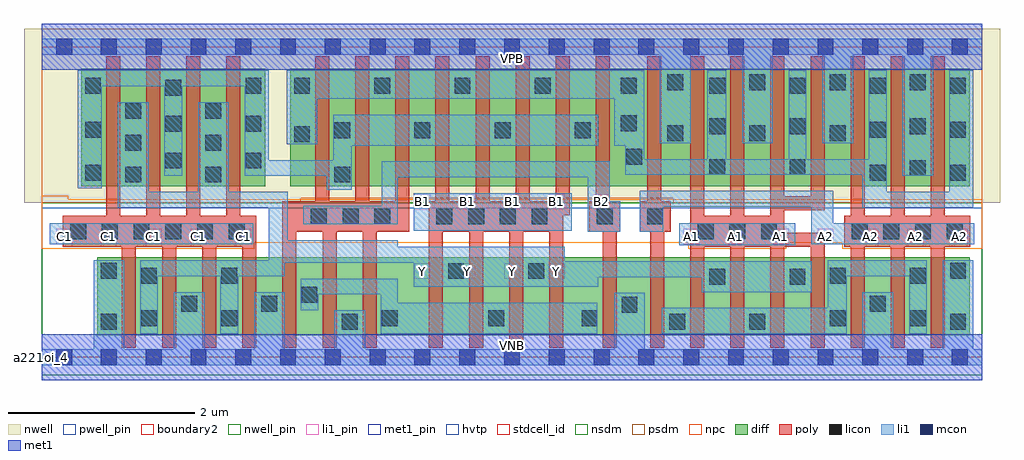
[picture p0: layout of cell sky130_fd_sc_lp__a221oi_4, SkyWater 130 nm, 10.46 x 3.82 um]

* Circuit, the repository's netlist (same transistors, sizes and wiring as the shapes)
* Copyright 2020 The SkyWater PDK Authors
*
* Licensed under the Apache License, Version 2.0 (the "License");
* you may not use this file except in compliance with the License.
* You may obtain a copy of the License at
*
*     https://www.apache.org/licenses/LICENSE-2.0
*
* Unless required by applicable law or agreed to in writing, software
* distributed under the License is distributed on an "AS IS" BASIS,
* WITHOUT WARRANTIES OR CONDITIONS OF ANY KIND, either express or implied.
* See the License for the specific language governing permissions and
* limitations under the License.
*
* SPDX-License-Identifier: Apache-2.0

.SUBCKT sky130_fd_sc_lp__a221oi_4 A1 A2 B1 B2 C1 VGND VNB VPB VPWR Y
*.PININFO A1:I A2:I B1:I B2:I C1:I VGND:I VNB:I VPB:I VPWR:I Y:O
MMPA0 pndA A1 VPWR VPB sky130_fd_pr__pfet_01v8_hvt m=4 w=1.26U l=0.15U mult=1 sa=0.265
+ sb=0.265 sd=0.28 area=0.063 perim=1.14
MMPA1 pndA A2 VPWR VPB sky130_fd_pr__pfet_01v8_hvt m=4 w=1.26U l=0.15U mult=1 sa=0.265
+ sb=0.265 sd=0.28 area=0.063 perim=1.14
MMPB0 pndB B1 pndA VPB sky130_fd_pr__pfet_01v8_hvt m=4 w=1.26U l=0.15U mult=1 sa=0.265
+ sb=0.265 sd=0.28 area=0.063 perim=1.14
MMPB1 pndB B2 pndA VPB sky130_fd_pr__pfet_01v8_hvt m=4 w=1.26U l=0.15U mult=1 sa=0.265
+ sb=0.265 sd=0.28 area=0.063 perim=1.14
MMPC0 Y C1 pndB VPB sky130_fd_pr__pfet_01v8_hvt m=4 w=1.26U l=0.15U mult=1 sa=0.265
+ sb=0.265 sd=0.28 area=0.063 perim=1.14
MMNA0 Y A1 sndA1 VNB sky130_fd_pr__nfet_01v8 m=4 w=0.84U l=0.15U mult=1 sa=0.265
+ sb=0.265 sd=0.28 area=0.063 perim=1.14
MMNA1 sndA1 A2 VGND VNB sky130_fd_pr__nfet_01v8 m=4 w=0.84U l=0.15U mult=1 sa=0.265
+ sb=0.265 sd=0.28 area=0.063 perim=1.14
MMNB0 Y B1 sndB1 VNB sky130_fd_pr__nfet_01v8 m=4 w=0.84U l=0.15U mult=1 sa=0.265
+ sb=0.265 sd=0.28 area=0.063 perim=1.14
MMNB1 sndB1 B2 VGND VNB sky130_fd_pr__nfet_01v8 m=4 w=0.84U l=0.15U mult=1 sa=0.265
+ sb=0.265 sd=0.28 area=0.063 perim=1.14
MMNC0 Y C1 VGND VNB sky130_fd_pr__nfet_01v8 m=4 w=0.84U l=0.15U mult=1 sa=0.265
+ sb=0.265 sd=0.28 area=0.063 perim=1.14
.ENDS sky130_fd_sc_lp__a221oi_4

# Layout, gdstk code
import gdstk
lib = gdstk.Library(unit=1e-6, precision=1e-09)
def R(c, l, rs):  # rectangles x0, y0, x1, y1
    for r in rs: c.add(gdstk.rectangle(r[:2], r[2:], *l))
def A(c, l, x, y, w, h, nx, ny, dx, dy):  # array of equal rectangles
    R(c, l, [(x+i*dx, y+j*dy, x+i*dx+w, y+j*dy+h) for i in range(nx) for j in range(ny)])
def P(c, l, *ps):  # polygons
    for p in ps: c.add(gdstk.Polygon(p, *l))
nwell_pin = (64, 16)
nwell = (64, 20)
diff = (65, 20)
poly = (66, 20)
licon = (66, 44)
li1_pin = (67, 16)
li1 = (67, 20)
mcon = (67, 44)
met1_pin = (68, 16)
met1 = (68, 20)
hvtp = (78, 44)
stdcell_id = (81, 4)
nsdm = (93, 44)
psdm = (94, 20)
npc = (95, 20)
pwell_pin = (122, 16)
boundary2 = (236, 0)

sky130_fd_sc_lp__a221oi_ = lib.new_cell('sky130_fd_sc_lp__a221oi_4')
R(sky130_fd_sc_lp__a221oi_, nwell_pin, [(0,3.085,10.08,3.33)])
R(sky130_fd_sc_lp__a221oi_, nwell, [(-0.19,1.655,10.27,3.52)])
R(sky130_fd_sc_lp__a221oi_, diff, [(0.595,0.235,9.945,1.075), (0.425,1.835,2.395,3.095), (2.665,1.835,9.945,3.095)])
P(sky130_fd_sc_lp__a221oi_, poly, [(2.3,1.515),(2.13,1.515),(2.13,3.225),(1.98,3.225),(1.98,1.515),(1.7,1.515),(1.7,3.225),(1.55,3.225),(1.55,1.515),(1.27,1.515),(1.27,3.225),(1.12,3.225),(1.12,1.515),(0.84,1.515),(0.84,3.225),(0.69,3.225),(0.69,1.515),(0.225,1.515),(0.225,1.185),(0.86,1.185),(0.86,0.105),(1.01,0.105),(1.01,1.185),(1.29,1.185),(1.29,0.105),(1.44,0.105),(1.44,1.185),(1.72,1.185),(1.72,0.105),(1.87,0.105),(1.87,1.185),(2.15,1.185),(2.15,0.105),(2.3,0.105)],
  [(3.94,3.225),(3.79,3.225),(3.79,1.675),(3.51,1.675),(3.51,3.225),(3.36,3.225),(3.36,1.675),(3.08,1.675),(3.08,3.225),(2.93,3.225),(2.93,1.675),(2.58,1.675),(2.58,0.105),(2.73,0.105),(2.73,1.345),(3.01,1.345),(3.01,0.105),(3.16,0.105),(3.16,1.345),(3.44,1.345),(3.44,0.105),(3.59,0.105),(3.59,1.345),(3.94,1.345)],
  [(5.66,3.225),(5.51,3.225),(5.51,1.675),(5.23,1.675),(5.23,3.225),(5.08,3.225),(5.08,1.675),(4.8,1.675),(4.8,3.225),(4.65,3.225),(4.65,1.675),(4.37,1.675),(4.37,3.225),(4.22,3.225),(4.22,1.675),(4.15,1.675),(4.15,0.105),(4.3,0.105),(4.3,1.345),(4.58,1.345),(4.58,0.105),(4.73,0.105),(4.73,1.345),(5.01,1.345),(5.01,0.105),(5.16,0.105),(5.16,1.345),(5.44,1.345),(5.44,0.105),(5.59,0.105),(5.59,1.525),(5.66,1.525)],
  [(6.2,1.675),(6.09,1.675),(6.09,3.225),(5.94,3.225),(5.94,1.675),(5.87,1.675),(5.87,1.345),(6.01,1.345),(6.01,0.105),(6.16,0.105),(6.16,1.345),(6.2,1.345)],
  [(6.74,1.675),(6.64,1.675),(6.64,3.225),(6.49,3.225),(6.49,1.675),(6.41,1.675),(6.41,1.345),(6.52,1.345),(6.52,0.105),(6.67,0.105),(6.67,1.345),(6.74,1.345)],
  [(8.39,1.335),(7.96,1.335),(7.96,1.575),(8.39,1.575),(8.39,3.225),(8.24,3.225),(8.24,1.725),(7.96,1.725),(7.96,3.225),(7.81,3.225),(7.81,1.515),(7.53,1.515),(7.53,3.225),(7.38,3.225),(7.38,1.515),(7.1,1.515),(7.1,3.225),(6.95,3.225),(6.95,0.105),(7.1,0.105),(7.1,1.185),(7.38,1.185),(7.38,0.105),(7.53,0.105),(7.53,1.185),(7.81,1.185),(7.81,0.105),(7.96,0.105),(7.96,1.185),(8.24,1.185),(8.24,0.105),(8.39,0.105)],
  [(9.95,1.515),(9.68,1.515),(9.68,3.225),(9.53,3.225),(9.53,1.515),(9.25,1.515),(9.25,3.225),(9.1,3.225),(9.1,1.515),(8.82,1.515),(8.82,3.225),(8.67,3.225),(8.67,1.515),(8.6,1.515),(8.6,1.185),(8.67,1.185),(8.67,0.105),(8.82,0.105),(8.82,1.185),(9.1,1.185),(9.1,0.105),(9.25,0.105),(9.25,1.185),(9.53,1.185),(9.53,0.105),(9.68,0.105),(9.68,1.185),(9.95,1.185)])
A(sky130_fd_sc_lp__a221oi_, licon, 0.305, 1.265, 0.17, 0.17, 6, 1, 0.34, 0)
A(sky130_fd_sc_lp__a221oi_, licon, 7.03, 1.265, 0.17, 0.17, 3, 1, 0.34, 0)
A(sky130_fd_sc_lp__a221oi_, licon, 8.68, 1.265, 0.17, 0.17, 4, 1, 0.34, 0)
A(sky130_fd_sc_lp__a221oi_, licon, 2.885, 1.425, 0.17, 0.17, 3, 1, 0.34, 0)
A(sky130_fd_sc_lp__a221oi_, licon, 4.23, 1.425, 0.17, 0.17, 4, 1, 0.34, 0)
A(sky130_fd_sc_lp__a221oi_, licon, 0.895, 1.875, 0.17, 0.17, 1, 3, 0, 0.34)
A(sky130_fd_sc_lp__a221oi_, licon, 1.755, 1.875, 0.17, 0.17, 1, 3, 0, 0.34)
A(sky130_fd_sc_lp__a221oi_, licon, 3.135, 2.35, 0.17, 0.17, 4, 1, 0.86, 0)
A(sky130_fd_sc_lp__a221oi_, licon, 2.705, 2.825, 0.17, 0.17, 4, 1, 0.86, 0)
A(sky130_fd_sc_lp__a221oi_, licon, 7.155, 2.825, 0.17, 0.17, 4, 1, 0.86, 0)
A(sky130_fd_sc_lp__a221oi_, licon, 7.585, 2.865, 0.17, 0.17, 3, 1, 0.86, 0)
R(sky130_fd_sc_lp__a221oi_, licon, [(0.635,0.295,0.805,0.465), (3.215,0.295,3.385,0.465), (6.725,0.295,6.895,0.465), (7.585,0.295,7.755,0.465), (9.735,0.295,9.905,0.465), (1.065,0.335,1.235,0.505), (1.925,0.335,2.095,0.505), (3.645,0.335,3.815,0.505), (4.785,0.335,4.955,0.505), (5.785,0.335,5.955,0.505), (8.445,0.335,8.615,0.505), (9.305,0.335,9.475,0.505), (6.215,0.48,6.385,0.65), (1.495,0.49,1.665,0.66), (2.355,0.49,2.525,0.66), (8.875,0.49,9.045,0.66), (2.785,0.585,2.955,0.755), (7.155,0.78,7.325,0.95), (8.015,0.78,8.185,0.95), (1.065,0.79,1.235,0.96), (1.925,0.79,2.095,0.96), (8.445,0.79,8.615,0.96), (9.305,0.79,9.475,0.96), (4.355,0.84,4.525,1.01), (5.215,0.84,5.385,1.01), (0.635,0.845,0.805,1.015), (9.735,0.845,9.905,1.015), (5.95,1.425,6.12,1.595), (6.49,1.425,6.66,1.595), (3.135,1.875,3.305,2.045), (0.465,1.895,0.635,2.065), (8.875,1.895,9.045,2.065), (9.735,1.895,9.905,2.065), (9.305,1.945,9.475,2.115), (7.155,1.955,7.325,2.125), (8.015,1.955,8.185,2.125), (1.325,2.025,1.495,2.195), (2.185,2.025,2.355,2.195), (6.265,2.065,6.435,2.235), (2.705,2.305,2.875,2.475), (6.705,2.315,6.875,2.485), (7.585,2.315,7.755,2.485), (8.445,2.315,8.615,2.485), (0.465,2.355,0.635,2.525), (8.875,2.355,9.045,2.525), (9.735,2.355,9.905,2.525), (7.155,2.39,7.325,2.56), (8.015,2.39,8.185,2.56), (9.305,2.39,9.475,2.56), (1.325,2.42,1.495,2.59), (2.185,2.42,2.355,2.59), (6.205,2.425,6.375,2.595), (1.325,2.805,1.495,2.975), (0.465,2.825,0.635,2.995), (2.185,2.825,2.355,2.995), (6.205,2.825,6.375,2.995), (6.705,2.865,6.875,3.035)])
A(sky130_fd_sc_lp__a221oi_, li1_pin, 3.995, 0.84, 0.17, 0.17, 4, 1, 0.48, 0)
A(sky130_fd_sc_lp__a221oi_, li1_pin, 0.155, 1.21, 0.17, 0.17, 5, 1, 0.48, 0)
A(sky130_fd_sc_lp__a221oi_, li1_pin, 6.875, 1.21, 0.17, 0.17, 7, 1, 0.48, 0)
A(sky130_fd_sc_lp__a221oi_, li1_pin, 3.995, 1.58, 0.17, 0.17, 5, 1, 0.48, 0)
R(sky130_fd_sc_lp__a221oi_, li1, [(6.83,1.2,8.075,1.435), (0.085,1.21,2.265,1.435), (3.985,1.355,5.68,1.76)])
P(sky130_fd_sc_lp__a221oi_, li1, [(5.955,0.585),(3.815,0.585),(3.815,0.845),(2.775,0.845),(2.775,0.505),(2.965,0.505),(2.965,0.675),(3.635,0.675),(3.635,0.255),(5.955,0.255)],
  [(5.965,2.6),(3.125,2.6),(3.125,2.115),(2.435,2.115),(2.435,3.075),(0.385,3.075),(0.385,1.815),(0.645,1.815),(0.645,2.905),(1.315,2.905),(1.315,1.945),(1.505,1.945),(1.505,2.905),(2.175,2.905),(2.175,1.945),(3.055,1.945),(3.055,1.795),(3.325,1.795),(3.325,2.27),(5.965,2.27)],
  [(6.2,1.675),(6.085,1.675),(6.085,2.1),(3.645,2.1),(3.645,1.625),(2.805,1.625),(2.805,1.425),(3.815,1.425),(3.815,1.93),(5.85,1.93),(5.85,1.345),(6.2,1.345)],
  [(8.255,1.03),(5.605,1.03),(5.605,1.185),(3.815,1.185),(3.815,1.255),(2.635,1.255),(2.635,1.775),(2.005,1.775),(2.005,2.735),(1.675,2.735),(1.675,1.775),(1.145,1.775),(1.145,2.735),(0.815,2.735),(0.815,1.605),(2.435,1.605),(2.435,1.04),(1.055,1.04),(1.055,0.255),(1.245,0.255),(1.245,0.87),(1.915,0.87),(1.915,0.255),(2.105,0.255),(2.105,0.87),(2.605,0.87),(2.605,1.015),(3.985,1.015),(3.985,0.755),(5.965,0.755),(5.965,0.86),(7.075,0.86),(7.075,0.7),(8.255,0.7)],
  [(9.485,1.04),(8.425,1.04),(8.425,0.53),(6.645,0.53),(6.645,0.255),(8.625,0.255),(8.625,0.87),(9.295,0.87),(9.295,0.255),(9.485,0.255)],
  [(9.985,3.075),(9.725,3.075),(9.725,1.775),(9.055,1.775),(9.055,3.075),(8.865,3.075),(8.865,2.125),(8.195,2.125),(8.195,3.075),(8.005,3.075),(8.005,2.125),(7.335,2.125),(7.335,3.075),(7.135,3.075),(7.135,2.125),(6.455,2.125),(6.455,3.075),(2.625,3.075),(2.625,2.285),(2.955,2.285),(2.955,2.77),(6.135,2.77),(6.135,2.27),(6.255,2.27),(6.255,1.955),(8.795,1.955),(8.795,1.605),(9.985,1.605)],
  [(9.995,1.435),(8.485,1.435),(8.485,1.785),(6.41,1.785),(6.41,1.345),(6.66,1.345),(6.66,1.615),(8.245,1.615),(8.245,1.21),(9.995,1.21)],
  [(10.08,3.415),(0,3.415),(0,3.245),(6.625,3.245),(6.625,2.295),(6.955,2.295),(6.955,3.245),(7.505,3.245),(7.505,2.295),(7.835,2.295),(7.835,3.245),(8.365,3.245),(8.365,2.295),(8.695,2.295),(8.695,3.245),(9.225,3.245),(9.225,1.945),(9.555,1.945),(9.555,3.245),(10.08,3.245)],
  [(10.08,0.085),(9.985,0.085),(9.985,1.04),(9.655,1.04),(9.655,0.085),(9.125,0.085),(9.125,0.7),(8.795,0.7),(8.795,0.085),(6.465,0.085),(6.465,0.69),(6.135,0.69),(6.135,0.085),(3.465,0.085),(3.465,0.505),(3.135,0.505),(3.135,0.085),(2.605,0.085),(2.605,0.7),(2.275,0.7),(2.275,0.085),(1.745,0.085),(1.745,0.7),(1.415,0.7),(1.415,0.085),(0.885,0.085),(0.885,1.04),(0.555,1.04),(0.555,0.085),(0,0.085),(0,-0.085),(10.08,-0.085)])
A(sky130_fd_sc_lp__a221oi_, mcon, 0.155, -0.085, 0.17, 0.17, 21, 2, 0.48, 3.33)
R(sky130_fd_sc_lp__a221oi_, met1_pin, [(0,0,10.08,0.245), (0,3.085,10.08,3.33)])
R(sky130_fd_sc_lp__a221oi_, met1, [(0,-0.245,10.08,0.245), (0,3.085,10.08,3.575)])
R(sky130_fd_sc_lp__a221oi_, hvtp, [(0,1.6,10.08,3.33)])
R(sky130_fd_sc_lp__a221oi_, stdcell_id, [(0,0,10.08,3.33)])
R(sky130_fd_sc_lp__a221oi_, nsdm, [(0,-0.19,10.08,1.655)])
P(sky130_fd_sc_lp__a221oi_, psdm, [(10.08,3.52),(0,3.52),(0,1.655),(2.775,1.655),(2.775,1.705),(6.77,1.705),(6.77,1.655),(10.08,1.655)])
P(sky130_fd_sc_lp__a221oi_, npc, [(10.08,1.695),(0.285,1.695),(0.285,1.73),(0,1.73),(0,1.165),(2.275,1.165),(2.275,1.23),(6.93,1.23),(6.93,1.165),(7.98,1.165),(7.98,1.23),(8.58,1.23),(8.58,1.165),(10.08,1.165)])
R(sky130_fd_sc_lp__a221oi_, pwell_pin, [(0,0,10.08,0.245)])
R(sky130_fd_sc_lp__a221oi_, boundary2, [(0,0,10.08,3.33)])
sky130_fd_sc_lp__a221oi_.add(gdstk.Label('VNB', (5.04,0.123), layer=64, texttype=59))
sky130_fd_sc_lp__a221oi_.add(gdstk.Label('VPB', (5.04,3.208), layer=64, texttype=5))
sky130_fd_sc_lp__a221oi_.add(gdstk.Label('a221oi_4', (0,0), layer=83, texttype=44))
sky130_fd_sc_lp__a221oi_.add(gdstk.Label('VPWR', (5.04,3.208), layer=68, texttype=5))
sky130_fd_sc_lp__a221oi_.add(gdstk.Label('VGND', (5.04,0.123), layer=68, texttype=5))
sky130_fd_sc_lp__a221oi_.add(gdstk.Label('A1', (6.96,1.295), layer=67, texttype=5))
sky130_fd_sc_lp__a221oi_.add(gdstk.Label('A1', (7.44,1.295), layer=67, texttype=5))
sky130_fd_sc_lp__a221oi_.add(gdstk.Label('A1', (7.92,1.295), layer=67, texttype=5))
sky130_fd_sc_lp__a221oi_.add(gdstk.Label('Y', (4.08,0.925), layer=67, texttype=5))
sky130_fd_sc_lp__a221oi_.add(gdstk.Label('Y', (4.56,0.925), layer=67, texttype=5))
sky130_fd_sc_lp__a221oi_.add(gdstk.Label('Y', (5.04,0.925), layer=67, texttype=5))
sky130_fd_sc_lp__a221oi_.add(gdstk.Label('Y', (5.52,0.925), layer=67, texttype=5))
sky130_fd_sc_lp__a221oi_.add(gdstk.Label('A2', (8.4,1.295), layer=67, texttype=5))
sky130_fd_sc_lp__a221oi_.add(gdstk.Label('A2', (8.88,1.295), layer=67, texttype=5))
sky130_fd_sc_lp__a221oi_.add(gdstk.Label('A2', (9.36,1.295), layer=67, texttype=5))
sky130_fd_sc_lp__a221oi_.add(gdstk.Label('A2', (9.84,1.295), layer=67, texttype=5))
sky130_fd_sc_lp__a221oi_.add(gdstk.Label('B1', (4.08,1.665), layer=67, texttype=5))
sky130_fd_sc_lp__a221oi_.add(gdstk.Label('B1', (4.56,1.665), layer=67, texttype=5))
sky130_fd_sc_lp__a221oi_.add(gdstk.Label('B1', (5.04,1.665), layer=67, texttype=5))
sky130_fd_sc_lp__a221oi_.add(gdstk.Label('B1', (5.52,1.665), layer=67, texttype=5))
sky130_fd_sc_lp__a221oi_.add(gdstk.Label('C1', (0.24,1.295), layer=67, texttype=5))
sky130_fd_sc_lp__a221oi_.add(gdstk.Label('C1', (0.72,1.295), layer=67, texttype=5))
sky130_fd_sc_lp__a221oi_.add(gdstk.Label('C1', (1.2,1.295), layer=67, texttype=5))
sky130_fd_sc_lp__a221oi_.add(gdstk.Label('C1', (1.68,1.295), layer=67, texttype=5))
sky130_fd_sc_lp__a221oi_.add(gdstk.Label('C1', (2.16,1.295), layer=67, texttype=5))
sky130_fd_sc_lp__a221oi_.add(gdstk.Label('B2', (6,1.665), layer=67, texttype=5))

lib.write_gds('sky130_fd_sc_lp__a221oi_4.gds')
